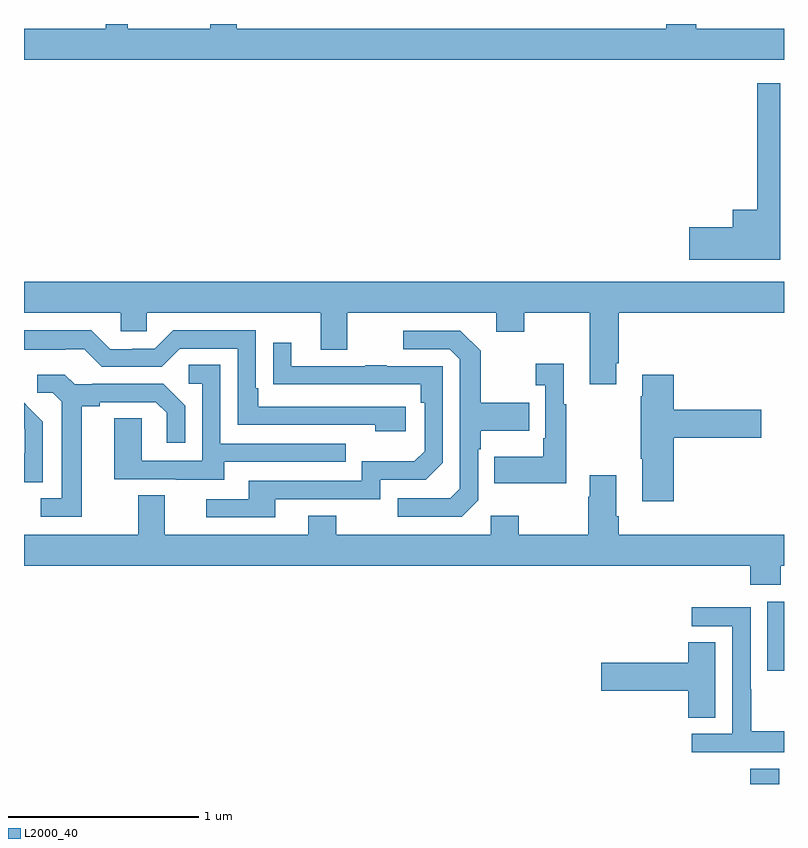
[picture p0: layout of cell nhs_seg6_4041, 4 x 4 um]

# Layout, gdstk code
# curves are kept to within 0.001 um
import gdstk
lib = gdstk.Library(unit=1e-6, precision=1e-09)
def R(c, l, rs):  # rectangles x0, y0, x1, y1
    for r in rs: c.add(gdstk.rectangle(r[:2], r[2:], *l))
def P(c, l, *ps):  # polygons
    for p in ps: c.add(gdstk.Polygon(p, *l))
L2000_40 = (2000, 40)

nhs_seg6_4041 = lib.new_cell('nhs_seg6_4041')
R(nhs_seg6_4041, L2000_40, [(352.823,967.5,352.975,967.579), (352.913,968.097,353,968.458)])
P(nhs_seg6_4041, L2000_40, [(353,971.476),(352.539,971.476),(352.539,971.5),(352.379,971.5),(352.379,971.476),(350.119,971.476),(350.119,971.5),(349.979,971.5),(349.979,971.476),(349.545,971.476),(349.545,971.5),(349.429,971.5),(349.429,971.476),(349,971.476),(349,971.312),(353,971.312)],
  [(352.981,971.188),(352.86,971.188),(352.86,970.522),(352.73,970.522),(352.73,970.43),(352.5,970.43),(352.5,970.259),(352.981,970.259)],
  [(349,969.98),(349.509,969.98),(349.509,969.882),(349.647,969.882),(349.647,969.98),(350.561,969.98),(350.561,969.786),(350.701,969.786),(350.701,969.98),(351.485,969.98),(351.485,969.881),(351.633,969.881),(351.633,969.98),(351.977,969.98),(351.977,969.603),(352.117,969.603),(352.117,969.715),(352.13,969.715),(352.13,969.98),(353,969.98),(353,970.144),(349,970.144)],
  [(351.01,969.486),(350.233,969.486),(350.233,969.583),(350.22,969.583),(350.22,969.888),(349.785,969.888),(349.689,969.792),(349.571,969.792),(349.571,969.789),(349.455,969.789),(349.355,969.889),(349,969.889),(349,969.785),(349.217,969.785),(349.217,969.789),(349.317,969.789),(349.41,969.696),(349.725,969.696),(349.821,969.792),(350.124,969.792),(350.124,969.39),(350.849,969.39),(350.849,969.356),(351.01,969.356)],
  [(351.39,968.994),(351.39,969.263),(351.403,969.263),(351.403,969.359),(351.659,969.359),(351.659,969.507),(351.403,969.507),(351.403,969.779),(351.297,969.885),(350.997,969.885),(350.997,969.789),(351.24,969.789),(351.294,969.735),(351.294,969.054),(351.243,969.003),(350.967,969.003),(350.967,968.907),(351.303,968.907)],
  [(350.323,969),(350.874,969),(350.874,969.102),(351.114,969.102),(351.204,969.192),(351.204,969.699),(350.909,969.699),(350.909,969.704),(350.797,969.704),(350.797,969.699),(350.407,969.699),(350.407,969.823),(350.311,969.823),(350.311,969.604),(351.088,969.603),(351.088,969.506),(351.108,969.506),(351.108,969.252),(351.055,969.199),(350.778,969.199),(350.778,969.096),(350.183,969.096),(350.183,969),(349.959,969),(349.959,968.904),(350.323,968.904)],
  [(351.853,969.499),(351.841,969.499),(351.841,969.712),(351.693,969.712),(351.693,969.599),(351.744,969.599),(351.744,969.319),(351.732,969.319),(351.732,969.223),(351.475,969.223),(351.475,969.083),(351.853,969.083)],
  [(350.053,969.195),(350.693,969.195),(350.693,969.291),(350.034,969.291),(350.034,969.707),(349.866,969.707),(349.866,969.606),(349.938,969.606),(349.938,969.201),(349.62,969.201),(349.62,969.425),(349.475,969.425),(349.475,969.105),(349.799,969.105),(349.799,969.101),(350.053,969.101)],
  [(349.303,969.488),(349.399,969.488),(349.399,969.51),(349.694,969.51),(349.751,969.453),(349.751,969.297),(349.848,969.297),(349.848,969.49),(349.732,969.606),(349.36,969.606),(349.36,969.603),(349.266,969.603),(349.214,969.655),(349.071,969.655),(349.071,969.558),(349.152,969.558),(349.199,969.511),(349.199,969.003),(349.089,969.003),(349.089,968.907),(349.303,968.907)],
  [(352.421,969.323),(352.879,969.323),(352.879,969.47),(352.421,969.47),(352.421,969.655),(352.253,969.655),(352.253,969.542),(352.246,969.542),(352.246,969.211),(352.253,969.211),(352.253,968.988),(352.421,968.988)],
  [(349.098,969.406),(349.025,969.479),(349.026,969.48),(349,969.506),(349,969.369),(349.004,969.365),(349.004,969.242),(349.002,969.242),(349.002,969.088),(349.098,969.088)],
  [(352.983,968.648),(353,968.648),(353,968.812),(352.13,968.812),(352.13,968.908),(352.117,968.908),(352.117,969.124),(351.977,969.124),(351.977,969.011),(351.97,969.011),(351.97,968.812),(351.603,968.812),(351.603,968.911),(351.456,968.911),(351.456,968.812),(350.643,968.812),(350.643,968.911),(350.495,968.911),(350.495,968.812),(349.741,968.812),(349.741,969.02),(349.601,969.02),(349.601,968.812),(349,968.812),(349,968.648),(352.823,968.648),(352.823,968.549),(352.983,968.549)],
  [(353,967.777),(352.827,967.777),(352.827,968),(352.824,968),(352.824,968.43),(352.515,968.43),(352.515,968.331),(352.728,968.331),(352.728,967.764),(352.515,967.764),(352.515,967.668),(353,967.668)],
  [(352.639,968.246),(352.496,968.246),(352.496,968.138),(352.038,968.138),(352.038,967.991),(352.496,967.991),(352.496,967.849),(352.639,967.849)])

lib.write_gds('nhs_seg6_4041.gds')
